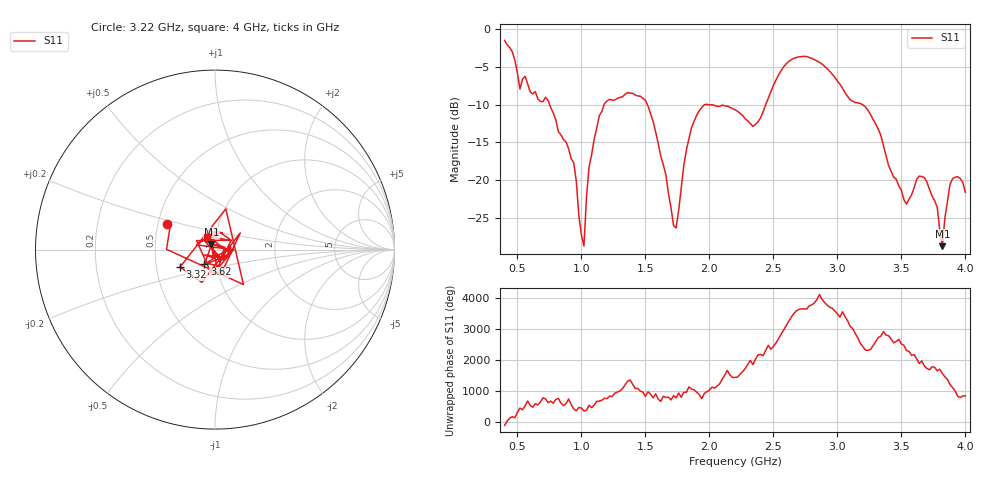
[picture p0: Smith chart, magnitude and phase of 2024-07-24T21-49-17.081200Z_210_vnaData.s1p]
!Created with skrf (http://scikit-rf.org).
# Hz S RI R 50.0
!freq ReS11 ImS11
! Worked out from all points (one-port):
!   181 points, 400 MHz to 4 GHz, reference 50 ohm
!   lowest |S11| = -28.8 dB at 3.82 GHz (marker M1), VSWR 1.08, Z = 48 + j2.93 ohm
!   |S11| at or under -10 dB: 1.515 GHz to 1.968 GHz (452.5 MHz wide, 26 % of centre); 1.989 GHz to 2.44 GHz (451.5 MHz wide, 20.4 % of centre); 3.195 GHz to end of sweep (the widest 3 of 4)
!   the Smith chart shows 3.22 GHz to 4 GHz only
!   S11 on the Smith chart (normalised r, x): 3.22 GHz: 0.56, +0.18; 3.32 GHz: 0.66, -0.13; 3.62 GHz: 0.88, -0.15; 4 GHz: 0.90, +0.13
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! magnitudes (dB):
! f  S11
! 400 MHz  -1.5
! 520 MHz  -7.9
! 720 MHz  -9.0
! 860 MHz  -14.6
! 940 MHz  -17.7
! 1.02 GHz  -28.7
! 1.06 GHz  -18.3
! 1.14 GHz  -11.5
! 1.3 GHz  -9.1
! 1.5 GHz  -9.4
! 1.66 GHz  -19.3
! 1.72 GHz  -26.0
! 1.76 GHz  -24.0
! 1.82 GHz  -16.0
! 1.92 GHz  -10.8
! 2.2 GHz  -10.7
! 2.36 GHz  -12.6
! 2.66 GHz  -3.9
! 2.88 GHz  -4.6
! 3.1 GHz  -9.4
! 3.22 GHz  -10.3
! 3.32 GHz  -13.3
! 3.56 GHz  -22.5
! 3.62 GHz  -19.9
! 3.78 GHz  -23.6
! 3.82 GHz  -28.8
! 3.88 GHz  -20.5
! 4 GHz  -21.6
